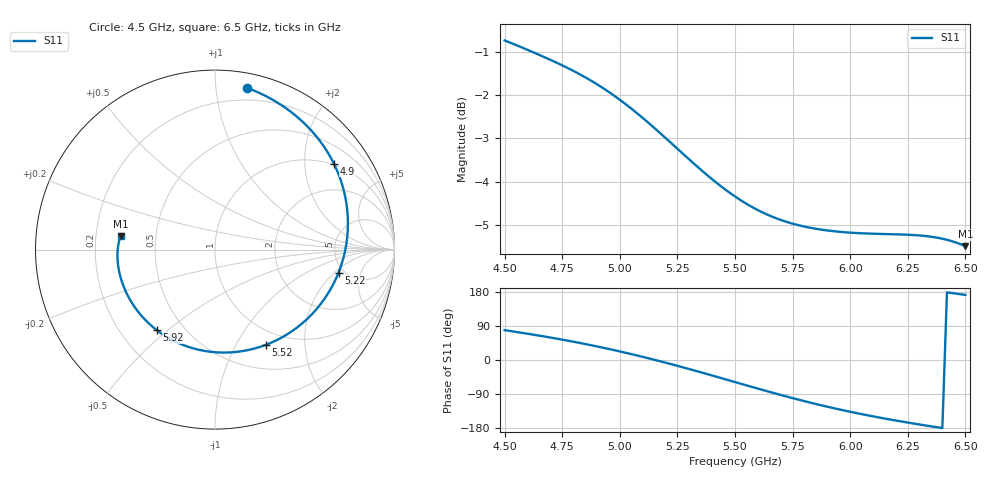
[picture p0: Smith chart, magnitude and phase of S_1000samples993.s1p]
! TOUCHSTONE file generated by CST MICROWAVE STUDIO
! Date and time: Sun Oct 30 00:51:39 2022
! Project name: L.cst
! Parameters = {Di=1.27; Epsilon_r=1.56; InnerDiameter=1.27; Length=2; Lf=10; Lg=60; OuterConductorThickness=0.2921; OuterDiameter=3.6; Wf=3; Wp=41.2; de=1.5; df=6.8; g=0.8; gx=3.39766; gy=2.18354; h=2.34; hf=1.524; px=12.4476; py=9.25704; w=9.7; wx=9.04996; wy=7.0735}
! Header version: 2018
! Port assignment regex: !\s*Touchstone port\s*([0-9]+)\s*=\s*(CST MWS port|CST DS port)\s*([0-9]+|Zmin|Zmax)\s*\(\"(.*)\"\)(\s*mode\s*([0-9]+))?.*
! Touchstone port assignment:
! Touchstone port 1 = CST MWS port 1 ("")
# GHz S DB R 50
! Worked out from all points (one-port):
!   101 points, 4.5 GHz to 6.5 GHz, reference 50 ohm
!   lowest |S11| = -5.5 dB at 6.5 GHz (marker M1), VSWR 3.27, Z = 15.4 + j3.26 ohm
!   |S11| at or under -10 dB: nowhere
!   S11 on the Smith chart (normalised r, x): 4.5 GHz: 0.11, +1.21; 4.9 GHz: 0.96, +2.79; 5.22 GHz: 4.50, -2.25; 5.52 GHz: 0.81, -1.34; 5.92 GHz: 0.35, -0.46; 6.5 GHz: 0.31, +0.07
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4.5  -0.74 78.7
4.58  -0.92 71.2
4.64  -1.05 65.3
4.76  -1.34 52.6
4.82  -1.51 45.7
4.9  -1.75 35.9
5  -2.11 22.6
5.06  -2.36 14.1
5.12  -2.62 5.2
5.16  -2.81 -1.0
5.22  -3.09 -10.5
5.26  -3.29 -17.0
5.32  -3.57 -27.1
5.38  -3.85 -37.3
5.44  -4.11 -47.7
5.5  -4.34 -58.2
5.52  -4.41 -61.7
5.58  -4.60 -72.2
5.64  -4.76 -82.4
5.7  -4.88 -92.5
5.76  -4.98 -102.2
5.84  -5.07 -114.5
5.92  -5.13 -126.0
6  -5.17 -136.6
6.12  -5.20 -151.1
6.26  -5.22 -166.1
6.38  -5.29 -177.7
6.5  -5.48 171.8
